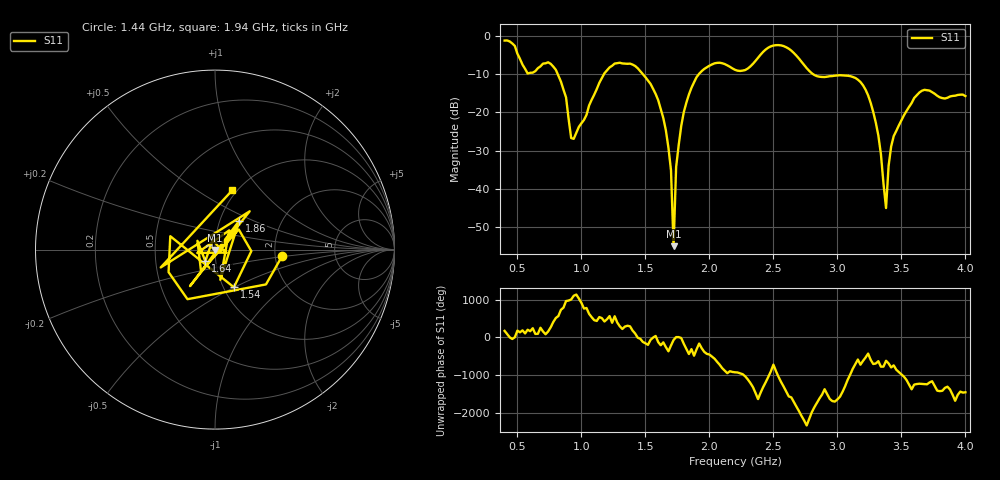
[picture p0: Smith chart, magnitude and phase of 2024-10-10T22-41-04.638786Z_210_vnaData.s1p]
! Created with skrf (http://scikit-rf.org).
# Hz S RI R 50.0
!freq ReS11 ImS11
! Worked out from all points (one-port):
!   181 points, 400 MHz to 4 GHz, reference 50 ohm
!   lowest |S11| = -54.9 dB at 1.72 GHz (marker M1), VSWR 1.00, Z = 50.1 - j0.167 ohm
!   |S11| at or under -10 dB: 814.1 MHz to 1.177 GHz (362.8 MHz wide, 36.4 % of centre); 1.48 GHz to 1.919 GHz (438.8 MHz wide, 25.8 % of centre); 2.808 GHz to end of sweep
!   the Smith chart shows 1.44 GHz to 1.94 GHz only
!   S11 on the Smith chart (normalised r, x): 1.44 GHz: 2.19, -0.18; 1.54 GHz: 1.12, -0.50; 1.64 GHz: 0.89, -0.12; 1.86 GHz: 1.23, +0.41; 1.94 GHz: 0.95, +0.72
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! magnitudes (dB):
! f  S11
! 400 MHz  -1.3
! 580 MHz  -9.9
! 760 MHz  -7.3
! 860 MHz  -14.1
! 940 MHz  -26.9
! 1.18 GHz  -9.8
! 1.3 GHz  -7.1
! 1.44 GHz  -8.5
! 1.54 GHz  -12.6
! 1.64 GHz  -21.5
! 1.7 GHz  -35.1
! 1.72 GHz  -54.9
! 1.74 GHz  -34.3
! 1.76 GHz  -28.6
! 1.86 GHz  -13.6
! 1.94 GHz  -9.2
! 2.2 GHz  -8.9
! 2.5 GHz  -2.6
! 2.66 GHz  -4.5
! 2.84 GHz  -10.6
! 3.1 GHz  -10.6
! 3.28 GHz  -19.9
! 3.34 GHz  -30.9
! 3.38 GHz  -45.0
! 3.42 GHz  -28.9
! 3.56 GHz  -18.6
! 3.68 GHz  -14.1
! 4 GHz  -15.8
